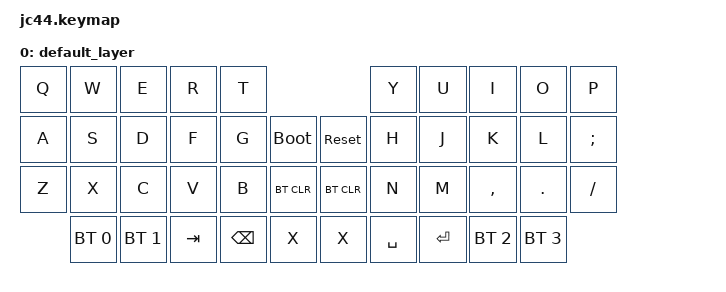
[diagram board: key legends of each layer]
#include <behaviors.dtsi>
#include <dt-bindings/zmk/keys.h>
#include <dt-bindings/zmk/bt.h>



/ {
    keymap {
        compatible = "zmk,keymap";

        default_layer { // Layer 0     keys to add:        &bt BT_SEL 0   thru   &bt BT_SEL 5   
            bindings = <
                &kp Q       &kp W           &kp E           &kp R       &kp T                                   &kp Y       &kp U       &kp I           &kp O           &kp P
                &kp A       &kp S           &kp D           &kp F       &kp G       &bootloader     &sys_reset  &kp H       &kp J       &kp K           &kp L           &kp SEMI
                &kp Z       &kp X           &kp C           &kp V       &kp B       &bt BT_CLR      &bt BT_CLR  &kp N       &kp M       &kp COMMA       &kp DOT         &kp SLASH
                            &bt BT_SEL 0    &bt BT_SEL 1    &kp TAB     &kp BSPC    &kp X           &kp X       &kp SPACE   &kp ENTER   &bt BT_SEL 2    &bt BT_SEL 3
            >;
        };

    };

 };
